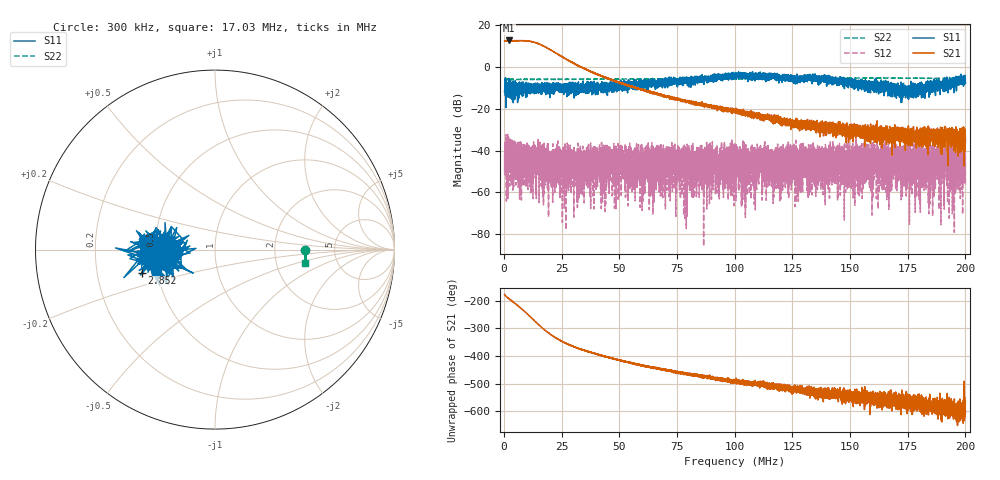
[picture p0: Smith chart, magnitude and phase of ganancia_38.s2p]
# Hz S DB R 50
! CMT, M5065, 19127446, 24.2.4/2
! Date: 10/29/2024 12:36:31 PM
! Data: Format (Calibration Info)
! Freq	S11:dB/Ang(F2)	S21:dB/Ang(F2)	S12:dB/Ang(F2)	S22:dB/Ang(F2)
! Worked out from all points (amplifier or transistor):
!   9000 points, 300 kHz to 200 MHz, reference 50 ohm
!   highest |S21| = 12.7 dB at 2.186 MHz (marker M1)
!   |S21| within 3 dB of that: start of sweep to 17.72 MHz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
!   unconditionally stable (mu >= 1): start of sweep to end of sweep
!   at 33.59 MHz: K = 121.49, MAG = 1.6 dB, |S12| = -51.1 dB
!   at 100.2 MHz: K = 274.59, MAG = -17.2 dB, |S12| = -41.4 dB
!   at 200 MHz: K = 2627.42, MAG = -33.7 dB, |S12| = -42.9 dB
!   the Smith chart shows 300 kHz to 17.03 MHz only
!   S11 on the Smith chart (normalised r, x): 300 kHz: 0.59, +0.03; 2.852 MHz: 0.41, -0.13; 17.03 MHz: 0.55, -0.08
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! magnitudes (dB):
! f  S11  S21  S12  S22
! 300 kHz  -11.8  12.5  -42.1  -6.0
! 2.186 MHz  -5.5  12.7  -43.0  -6.0
! 2.852 MHz  -7.3  12.5  -37.4  -6.0
! 6.824 MHz  -8.3  12.6  -35.5  -6.0
! 17.03 MHz  -10.7  10.1  -46.7  -5.9
! 33.59 MHz  -10.1  -0.2  -51.1  -5.8
! 50.19 MHz  -8.6  -7.7  -40.9  -5.7
! 60.73 MHz  -7.2  -11.3  -45.3  -5.7
! 61.79 MHz  -8.8  -11.2  -40.9  -5.7
! 66.87 MHz  -7.2  -13.2  -46.2  -5.7
! 69.23 MHz  -8.1  -13.7  -44.5  -5.7
! 100.2 MHz  -3.7  -21.0  -41.4  -5.7
! 105.6 MHz  -4.1  -22.5  -49.7  -5.6
! 110.8 MHz  -3.4  -22.4  -43.8  -5.6
! 120.5 MHz  -4.8  -25.4  -43.8  -5.5
! 133.4 MHz  -6.3  -27.9  -50.0  -5.3
! 166.7 MHz  -11.4  -35.1  -40.1  -5.3
! 169.2 MHz  -12.3  -31.7  -50.5  -5.3
! 183.9 MHz  -10.2  -30.9  -45.2  -5.4
! 191.9 MHz  -8.4  -32.2  -38.9  -5.5
! 193.7 MHz  -6.1  -30.3  -58.9  -5.5
! 200 MHz  -7.9  -36.0  -42.9  -5.5
